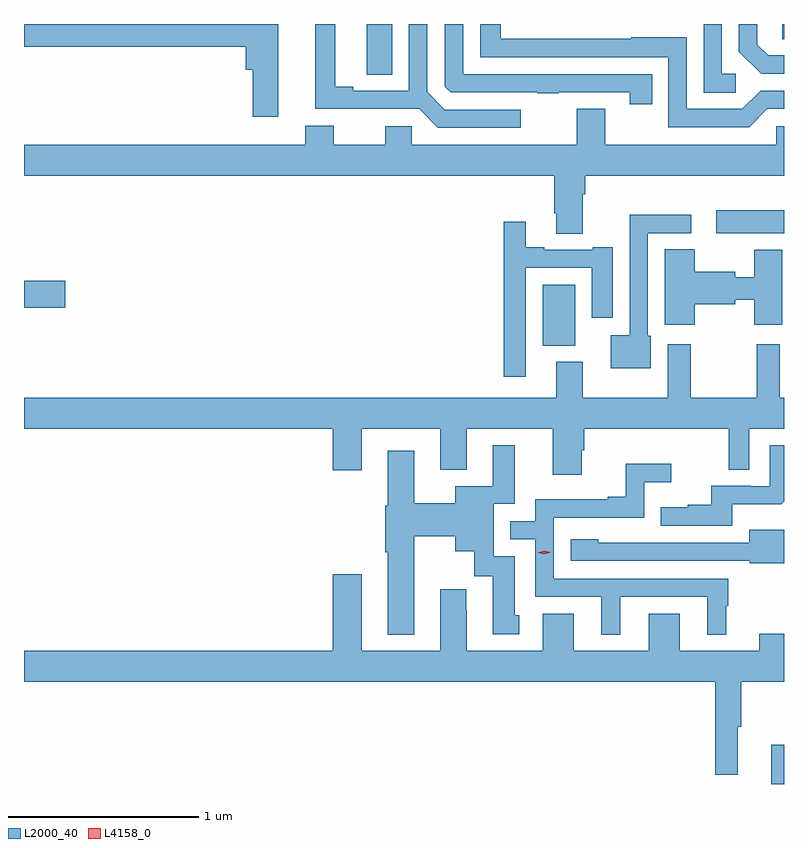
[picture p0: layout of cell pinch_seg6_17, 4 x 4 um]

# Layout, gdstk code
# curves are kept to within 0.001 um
import gdstk
lib = gdstk.Library(unit=1e-6, precision=1e-09)
def R(c, l, rs):  # rectangles x0, y0, x1, y1
    for r in rs: c.add(gdstk.rectangle(r[:2], r[2:], *l))
def P(c, l, *ps):  # polygons
    for p in ps: c.add(gdstk.Polygon(p, *l))
L2000_40 = (2000, 40)
L4158_0 = (4158, 0)

pinch_seg6_17 = lib.new_cell('pinch_seg6_17')
R(pinch_seg6_17, L2000_40, [(966.872,961.451,966.939,961.657), (965.669,963.758,965.839,964.078), (962.939,963.958,963.157,964.1), (964.742,965.185,964.876,965.451), (966.93,965.371,966.939,965.451)])
P(pinch_seg6_17, L2000_40, [(965.554,965.001),(965.154,965.001),(965.061,965.094),(965.061,965.451),(964.965,965.451),(964.965,965.1),(964.672,965.1),(964.672,965.12),(964.576,965.12),(964.576,965.451),(964.472,965.451),(964.472,965.004),(965.018,965.004),(965.117,964.905),(965.554,964.905)],
  [(966.939,965.286),(966.856,965.286),(966.799,965.343),(966.799,965.451),(966.702,965.451),(966.702,965.306),(966.818,965.19),(966.939,965.19)],
  [(964.276,965.451),(962.939,965.451),(962.939,965.332),(964.106,965.332),(964.106,965.21),(964.142,965.21),(964.142,964.962),(964.276,964.962)],
  [(966.685,965.19),(966.612,965.19),(966.612,965.451),(966.516,965.451),(966.516,965.089),(966.685,965.089)],
  [(966.852,965.004),(966.939,965.004),(966.939,965.1),(966.816,965.1),(966.72,965.004),(966.426,965.004),(966.426,965.38),(966.135,965.38),(966.135,965.373),(965.449,965.374),(965.449,965.451),(965.34,965.451),(965.34,965.277),(966.33,965.277),(966.33,964.908),(966.756,964.908)],
  [(966.245,965.187),(965.25,965.187),(965.25,965.451),(965.154,965.451),(965.154,965.121),(965.184,965.091),(965.641,965.091),(965.641,965.086),(965.753,965.086),(965.753,965.091),(966.127,965.091),(966.127,965.028),(966.245,965.028)],
  [(966.939,964.914),(966.897,964.914),(966.897,964.816),(965.997,964.816),(965.997,965.006),(965.849,965.006),(965.849,964.816),(964.98,964.816),(964.98,964.914),(964.841,964.914),(964.841,964.816),(964.57,964.816),(964.57,964.915),(964.418,964.915),(964.418,964.816),(962.939,964.816),(962.939,964.652),(965.729,964.652),(965.729,964.456),(965.741,964.456),(965.741,964.348),(965.881,964.348),(965.881,964.556),(965.894,964.556),(965.894,964.652),(966.939,964.652)],
  [(966.809,964.35),(966.939,964.35),(966.939,964.471),(966.582,964.471),(966.582,964.349),(966.809,964.349)],
  [(966.238,963.81),(966.222,963.81),(966.222,964.35),(966.451,964.35),(966.451,964.448),(966.126,964.448),(966.126,963.814),(966.026,963.814),(966.026,963.638),(966.238,963.638)],
  [(965.58,964.167),(965.927,964.167),(965.927,963.906),(966.037,963.906),(966.037,964.276),(965.933,964.276),(965.933,964.263),(965.677,964.263),(965.677,964.276),(965.581,964.276),(965.581,964.411),(965.464,964.411),(965.464,963.594),(965.58,963.594)],
  [(966.468,963.977),(966.682,963.977),(966.682,964),(966.782,964),(966.782,963.867),(966.931,963.867),(966.931,964.264),(966.782,964.264),(966.782,964.119),(966.682,964.119),(966.682,964.147),(966.468,964.147),(966.468,964.265),(966.311,964.265),(966.311,963.867),(966.468,963.867)],
  [(965.875,963.207),(965.888,963.207),(965.888,963.32),(966.648,963.32),(966.648,963.106),(966.756,963.106),(966.756,963.32),(966.939,963.32),(966.939,963.484),(966.916,963.484),(966.916,963.766),(966.796,963.766),(966.796,963.484),(966.447,963.484),(966.447,963.766),(966.326,963.766),(966.326,963.484),(965.881,963.484),(965.881,963.673),(965.741,963.673),(965.741,963.484),(962.939,963.484),(962.939,963.32),(964.565,963.32),(964.565,963.102),(964.717,963.102),(964.717,963.32),(965.129,963.32),(965.129,963.104),(965.269,963.104),(965.269,963.32),(965.723,963.32),(965.723,963.078),(965.875,963.078)],
  [(964.993,962.756),(965.21,962.756),(965.21,962.675),(965.309,962.675),(965.309,962.544),(965.405,962.544),(965.405,962.238),(965.545,962.238),(965.545,962.34),(965.521,962.34),(965.521,962.649),(965.412,962.649),(965.412,962.925),(965.521,962.925),(965.521,963.235),(965.405,963.235),(965.405,963.019),(965.21,963.019),(965.21,962.928),(964.993,962.928),(964.993,963.205),(964.853,963.205),(964.853,962.916),(964.841,962.916),(964.841,962.672),(964.853,962.672),(964.853,962.237),(964.993,962.237)],
  [(966.667,962.924),(966.925,962.924),(966.939,962.938),(966.939,963.235),(966.864,963.235),(966.864,963.018),(966.764,963.018),(966.764,963.021),(966.557,963.021),(966.557,962.92),(966.433,962.92),(966.433,962.908),(966.289,962.908),(966.289,962.811),(966.667,962.811)],
  [(966.076,962.436),(966.536,962.436),(966.536,962.237),(966.634,962.237),(966.634,962.388),(966.646,962.388),(966.646,962.532),(965.727,962.532),(965.727,962.853),(966.204,962.853),(966.204,963.038),(966.346,963.038),(966.346,963.137),(966.106,963.137),(966.106,962.962),(966.011,962.962),(966.011,962.949),(965.631,962.949),(965.631,962.835),(965.498,962.835),(965.498,962.739),(965.631,962.739),(965.631,962.436),(965.978,962.436),(965.978,962.237),(966.076,962.237)],
  [(966.939,962.788),(966.755,962.788),(966.755,962.721),(966.197,962.721),(966.197,962.722),(965.961,962.722),(965.961,962.74),(965.817,962.74),(965.817,962.625),(966.759,962.625),(966.759,962.613),(966.939,962.613)],
  [(966.695,961.752),(966.713,961.752),(966.713,961.988),(966.939,961.988),(966.939,962.243),(966.809,962.243),(966.809,962.152),(966.391,962.152),(966.391,962.347),(966.227,962.347),(966.227,962.152),(965.833,962.152),(965.833,962.347),(965.669,962.347),(965.669,962.152),(965.269,962.152),(965.269,962.363),(965.266,962.363),(965.266,962.476),(965.129,962.476),(965.129,962.152),(964.717,962.152),(964.717,962.554),(964.565,962.554),(964.565,962.152),(962.939,962.152),(962.939,961.988),(966.577,961.988),(966.577,961.5),(966.695,961.5)])
P(pinch_seg6_17, L4158_0, [(965.677,962.659),(965.643,962.667),(965.642,962.667),(965.643,962.667),(965.676,962.679),(965.711,962.671),(965.711,962.671),(965.711,962.671)])

lib.write_gds('pinch_seg6_17.gds')
